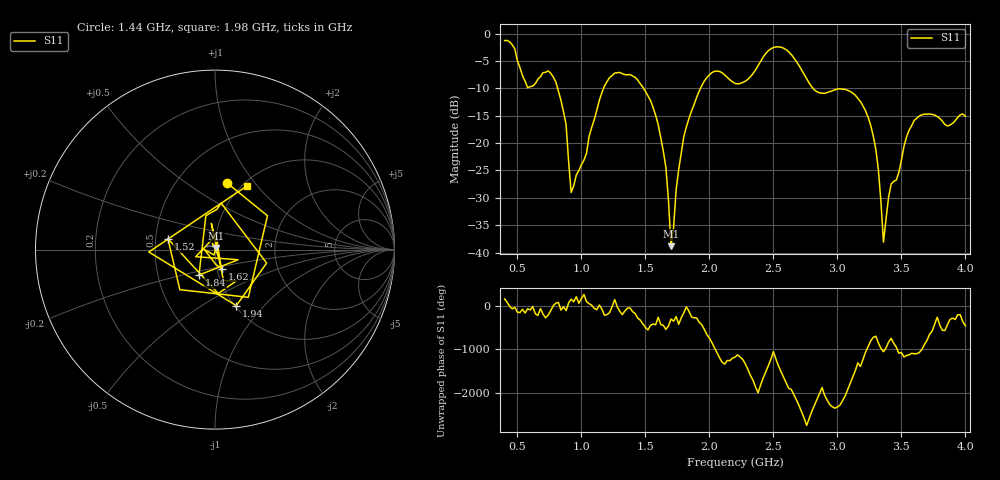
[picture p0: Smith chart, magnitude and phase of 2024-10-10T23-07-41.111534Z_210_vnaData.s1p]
! Created with skrf (http://scikit-rf.org).
# Hz S RI R 50.0
!freq ReS11 ImS11
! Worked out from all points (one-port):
!   181 points, 400 MHz to 4 GHz, reference 50 ohm
!   lowest |S11| = -38.8 dB at 1.7 GHz (marker M1), VSWR 1.02, Z = 50.6 + j0.989 ohm
!   |S11| at or under -10 dB: 814.1 MHz to 1.173 GHz (358.8 MHz wide, 36.1 % of centre); 1.486 GHz to 1.931 GHz (444.9 MHz wide, 26 % of centre); 2.81 GHz to end of sweep
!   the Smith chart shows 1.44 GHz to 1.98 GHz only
!   S11 on the Smith chart (normalised r, x): 1.44 GHz: 0.85, +0.74; 1.52 GHz: 0.58, +0.08; 1.62 GHz: 1.05, -0.23; 1.84 GHz: 0.81, -0.23; 1.94 GHz: 1.02, -0.71; 1.98 GHz: 1.05, +0.88
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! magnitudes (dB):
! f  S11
! 400 MHz  -1.3
! 580 MHz  -9.9
! 760 MHz  -7.2
! 860 MHz  -14.3
! 880 MHz  -16.6
! 920 MHz  -29.0
! 1.18 GHz  -9.6
! 1.3 GHz  -7.1
! 1.44 GHz  -8.5
! 1.52 GHz  -11.4
! 1.62 GHz  -19.0
! 1.66 GHz  -24.4
! 1.7 GHz  -38.8
! 1.76 GHz  -24.8
! 1.84 GHz  -15.5
! 1.94 GHz  -9.5
! 1.98 GHz  -8.1
! 2.2 GHz  -9.1
! 2.5 GHz  -2.5
! 2.66 GHz  -4.5
! 2.84 GHz  -10.6
! 3.1 GHz  -10.6
! 3.28 GHz  -18.7
! 3.32 GHz  -24.8
! 3.36 GHz  -38.1
! 3.42 GHz  -27.5
! 3.56 GHz  -17.6
! 4 GHz  -15.1
